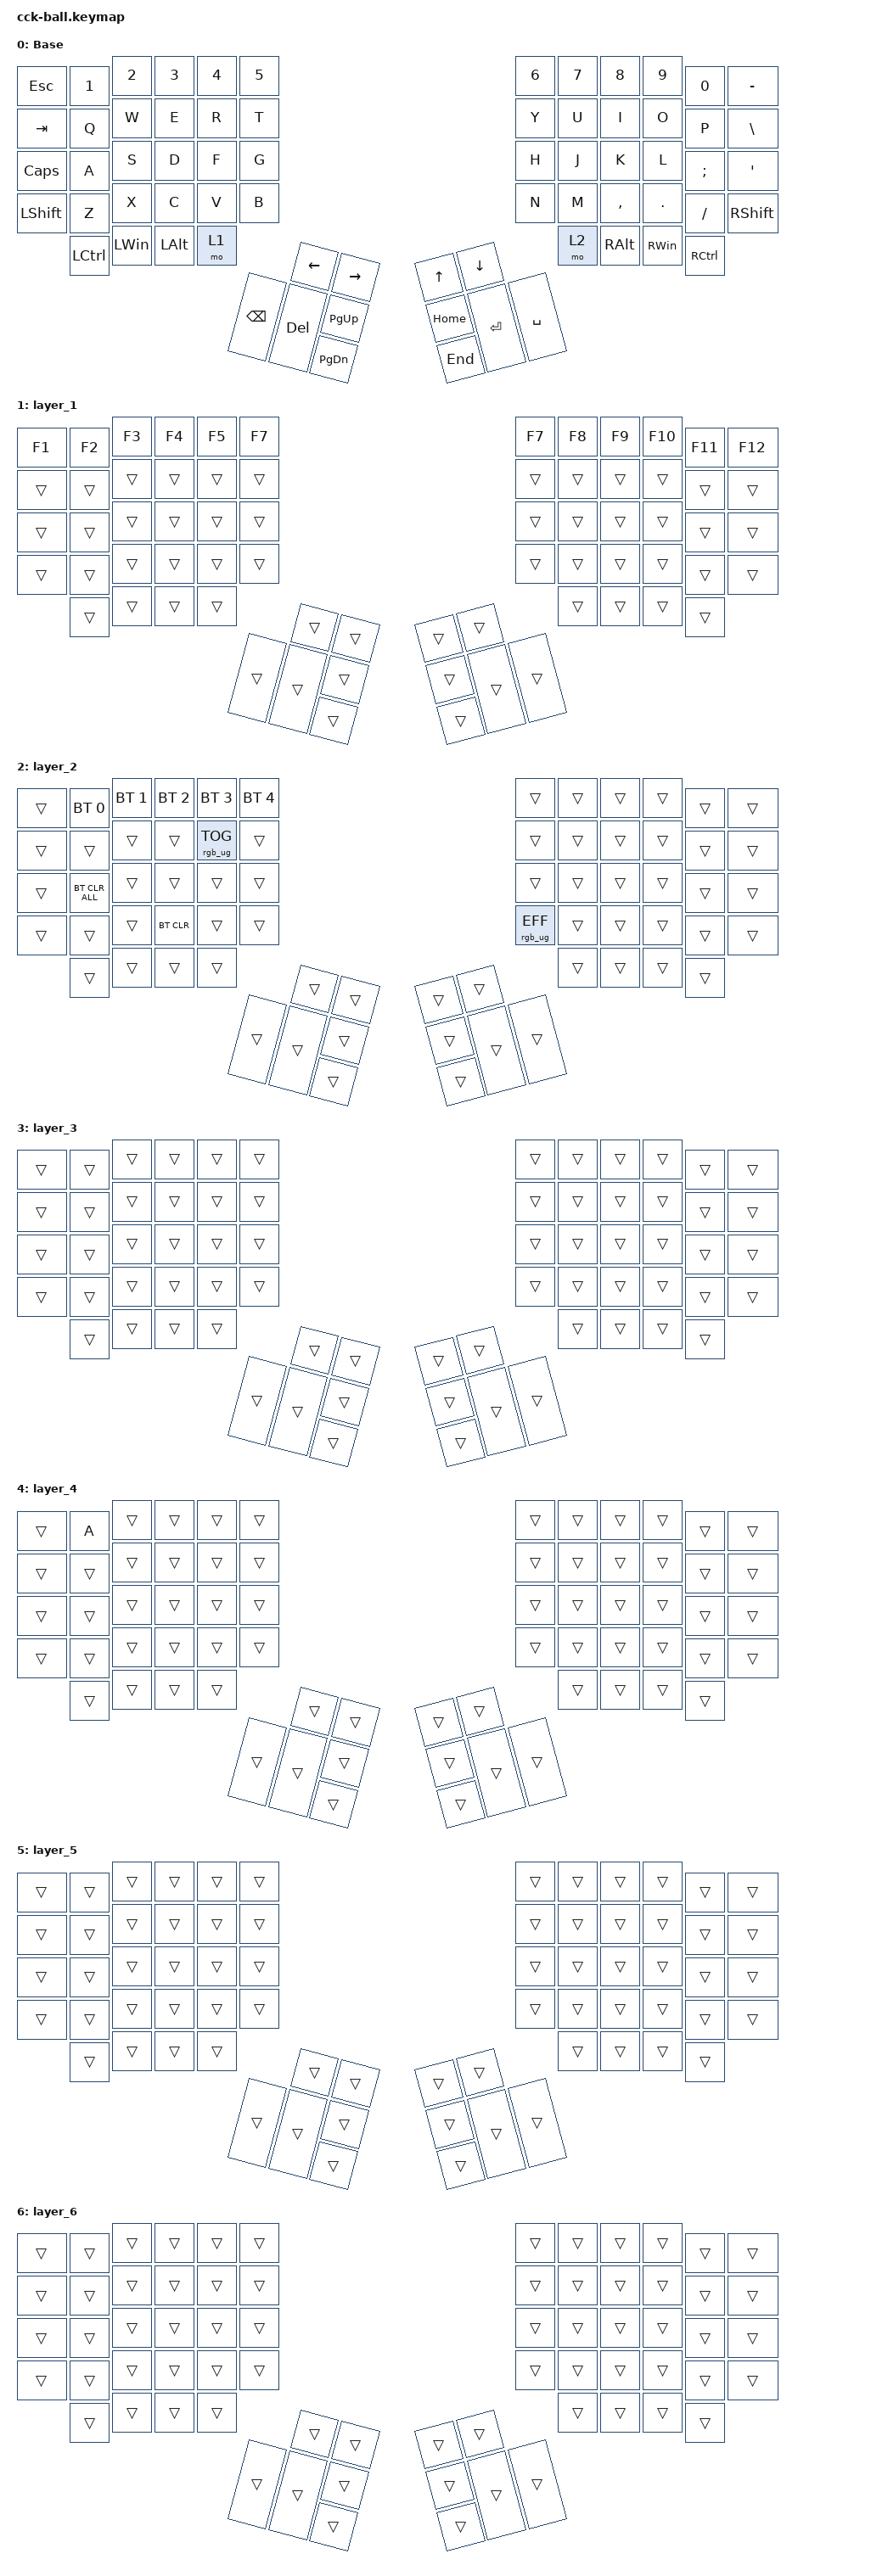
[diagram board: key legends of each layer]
#include <dt-bindings/zmk/mouse.h>
#include <behaviors.dtsi>
#include <dt-bindings/zmk/bt.h>
#include <dt-bindings/zmk/keys.h>
#include <dt-bindings/zmk/rgb.h>

/ {
    behaviors {
        hm: homerow_mods {
            compatible = "zmk,behavior-hold-tap";
            label = "HOMEROW_MODS";
            #binding-cells = <2>;
            tapping-term-ms = <200>;
            quick_tap_ms = <175>;
            flavor = "tap-preferred";
            bindings = <&kp>, <&kp>;
        };
    };

    keymap {
        compatible = "zmk,keymap";

        default_layer {
            display-name = "Base";
            bindings = <
&kp ESC    &kp N1     &kp N2    &kp N3        &kp N4  &kp N5                                                                                             &kp N6  &kp N7  &kp N8         &kp N9         &kp N0     &kp MINUS
&kp TAB    &kp Q      &kp W     &kp E         &kp R   &kp T                                                                                              &kp Y   &kp U   &kp I          &kp O          &kp P      &kp BSLH
&kp CAPS   &kp A      &kp S     &kp D         &kp F   &kp G                  &kp LEFT_ARROW  &kp RIGHT          &kp UP_ARROW  &kp DOWN_ARROW             &kp H   &kp J   &kp K          &kp L          &kp SEMI   &kp SQT
&kp LSHFT  &kp Z      &kp X     &kp C         &kp V   &kp B                                  &kp PG_UP          &kp HOME                                 &kp N   &kp M   &kp COMMA      &kp DOT        &kp FSLH   &kp RSHFT
           &kp LCTRL  &kp LWIN  &kp LEFT_ALT  &mo 1           &kp BACKSPACE  &kp DELETE      &kp PAGE_DOWN      &kp END       &kp ENTER       &kp SPACE          &mo 2   &kp RIGHT_ALT  &kp RIGHT_WIN  &kp RCTRL
            >;
        };

        layer_1 {
            bindings = <
&kp F1   &kp F2  &kp F3   &kp F4   &kp F5   &kp F7                                                       &kp F7   &kp F8   &kp F9   &kp F10   &kp F11   &kp F12 
&trans  &trans  &trans  &trans  &trans  &trans                                                      &trans  &trans  &trans  &trans  &trans  &trans
&trans  &trans  &trans  &trans  &trans  &trans          &trans  &trans      &trans  &trans          &trans  &trans  &trans  &trans  &trans  &trans
&trans  &trans  &trans  &trans  &trans  &trans                  &trans      &trans                  &trans  &trans  &trans  &trans  &trans  &trans
        &trans  &trans  &trans  &trans          &trans  &trans  &trans      &trans  &trans  &trans          &trans  &trans  &trans  &trans
            >;
        };

        layer_2 {
            bindings = <
&trans  &bt BT_SEL 0    &bt BT_SEL 1  &bt BT_SEL 2  &bt BT_SEL 3     &bt BT_SEL 4                                                      &trans           &trans  &trans  &trans  &trans  &trans
&trans  &trans          &trans        &trans        &rgb_ug RGB_TOG  &trans                                                            &trans           &trans  &trans  &trans  &trans  &trans
&trans  &bt BT_CLR_ALL  &trans        &trans        &trans           &trans                &trans  &trans      &trans  &trans          &trans           &trans  &trans  &trans  &trans  &trans
&trans  &trans          &trans        &bt BT_CLR    &trans           &trans                        &trans      &trans                  &rgb_ug RGB_EFF  &trans  &trans  &trans  &trans  &trans
        &trans          &trans        &trans        &trans                         &trans  &trans  &trans      &trans  &trans  &trans                   &trans  &trans  &trans  &trans
            >;
        };

        layer_3 {
            bindings = <
&trans  &trans  &trans  &trans  &trans  &trans                                                      &trans  &trans  &trans  &trans  &trans  &trans
&trans  &trans  &trans  &trans  &trans  &trans                                                      &trans  &trans  &trans  &trans  &trans  &trans
&trans  &trans  &trans  &trans  &trans  &trans          &trans  &trans      &trans  &trans          &trans  &trans  &trans  &trans  &trans  &trans
&trans  &trans  &trans  &trans  &trans  &trans                  &trans      &trans                  &trans  &trans  &trans  &trans  &trans  &trans
        &trans  &trans  &trans  &trans          &trans  &trans  &trans      &trans  &trans  &trans          &trans  &trans  &trans  &trans
            >;
        };

        layer_4 {
            bindings = <
&trans  &kp A   &trans  &trans  &trans  &trans                                                      &trans  &trans  &trans  &trans  &trans  &trans
&trans  &trans  &trans  &trans  &trans  &trans                                                      &trans  &trans  &trans  &trans  &trans  &trans
&trans  &trans  &trans  &trans  &trans  &trans          &trans  &trans      &trans  &trans          &trans  &trans  &trans  &trans  &trans  &trans
&trans  &trans  &trans  &trans  &trans  &trans                  &trans      &trans                  &trans  &trans  &trans  &trans  &trans  &trans
        &trans  &trans  &trans  &trans          &trans  &trans  &trans      &trans  &trans  &trans          &trans  &trans  &trans  &trans
            >;
        };

        layer_5 {
            bindings = <
&trans  &trans  &trans  &trans  &trans  &trans                                                      &trans  &trans  &trans  &trans  &trans  &trans
&trans  &trans  &trans  &trans  &trans  &trans                                                      &trans  &trans  &trans  &trans  &trans  &trans
&trans  &trans  &trans  &trans  &trans  &trans          &trans  &trans      &trans  &trans          &trans  &trans  &trans  &trans  &trans  &trans
&trans  &trans  &trans  &trans  &trans  &trans                  &trans      &trans                  &trans  &trans  &trans  &trans  &trans  &trans
        &trans  &trans  &trans  &trans          &trans  &trans  &trans      &trans  &trans  &trans          &trans  &trans  &trans  &trans
            >;
        };

        layer_6 {
            bindings = <
&trans  &trans  &trans  &trans  &trans  &trans                                                      &trans  &trans  &trans  &trans  &trans  &trans
&trans  &trans  &trans  &trans  &trans  &trans                                                      &trans  &trans  &trans  &trans  &trans  &trans
&trans  &trans  &trans  &trans  &trans  &trans          &trans  &trans      &trans  &trans          &trans  &trans  &trans  &trans  &trans  &trans
&trans  &trans  &trans  &trans  &trans  &trans                  &trans      &trans                  &trans  &trans  &trans  &trans  &trans  &trans
        &trans  &trans  &trans  &trans          &trans  &trans  &trans      &trans  &trans  &trans          &trans  &trans  &trans  &trans
            >;
        };
    };
};
